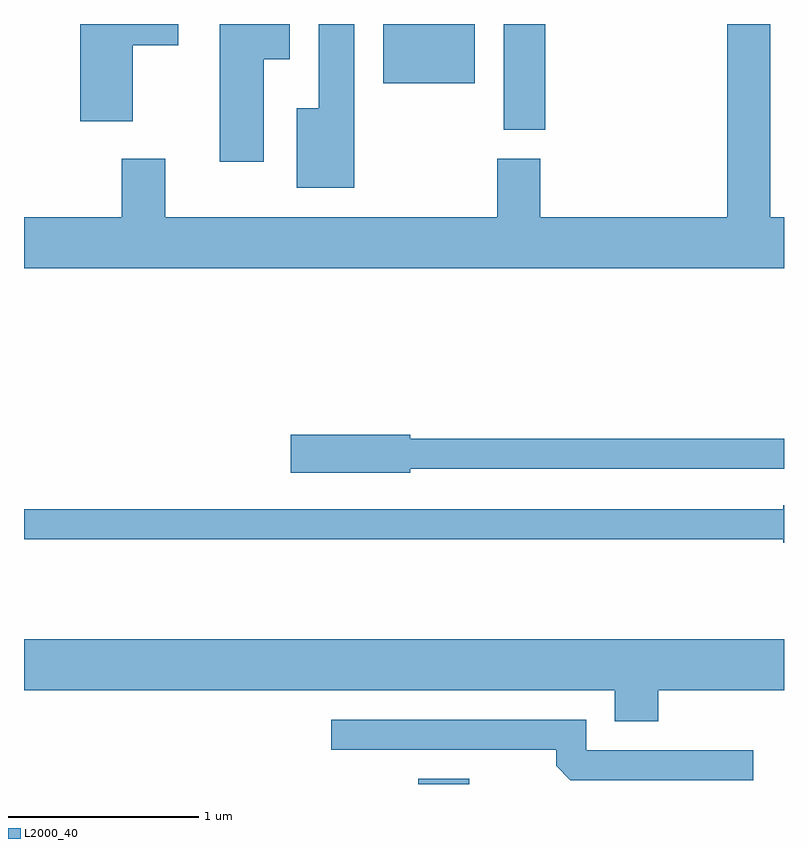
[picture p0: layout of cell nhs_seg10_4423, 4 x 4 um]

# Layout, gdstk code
import gdstk
lib = gdstk.Library(unit=1e-6, precision=1e-09)
def R(c, l, rs):  # rectangles x0, y0, x1, y1
    for r in rs: c.add(gdstk.rectangle(r[:2], r[2:], *l))
def P(c, l, *ps):  # polygons
    for p in ps: c.add(gdstk.Polygon(p, *l))
L2000_40 = (2000, 40)

nhs_seg10_4423 = lib.new_cell('nhs_seg10_4423')
R(nhs_seg10_4423, L2000_40, [(317.686,2124.522,317.954,2124.549), (318.136,2127.966,318.354,2128.522), (317.501,2128.211,317.984,2128.522)])
P(nhs_seg10_4423, L2000_40, [(319.611,2127.504),(319.539,2127.504),(319.539,2128.522),(319.311,2128.522),(319.311,2127.504),(318.329,2127.504),(318.329,2127.814),(318.101,2127.814),(318.101,2127.504),(316.354,2127.504),(316.354,2127.814),(316.126,2127.814),(316.126,2127.504),(315.611,2127.504),(315.611,2127.236),(319.611,2127.236)],
  [(317.349,2128.522),(317.161,2128.522),(317.161,2128.079),(317.046,2128.079),(317.046,2127.661),(317.349,2127.661)],
  [(316.874,2128.336),(317.009,2128.336),(317.009,2128.522),(316.641,2128.522),(316.641,2127.796),(316.874,2127.796)],
  [(316.184,2128.411),(316.424,2128.411),(316.424,2128.522),(315.906,2128.522),(315.906,2128.011),(316.184,2128.011)],
  [(317.644,2126.181),(319.611,2126.181),(319.611,2126.339),(317.644,2126.339),(317.644,2126.359),(317.016,2126.359),(317.016,2126.161),(317.644,2126.161)],
  [(319.611,2125.989),(319.606,2125.989),(319.606,2125.969),(315.611,2125.969),(315.611,2125.811),(319.606,2125.811),(319.606,2125.791),(319.611,2125.791)],
  [(318.949,2125.016),(319.611,2125.016),(319.611,2125.284),(315.611,2125.284),(315.611,2125.016),(318.721,2125.016),(318.721,2124.851),(318.949,2124.851)],
  [(319.448,2124.699),(318.569,2124.699),(318.569,2124.859),(317.228,2124.859),(317.228,2124.701),(318.411,2124.701),(318.411,2124.617),(318.487,2124.541),(319.448,2124.541)])

lib.write_gds('nhs_seg10_4423.gds')
